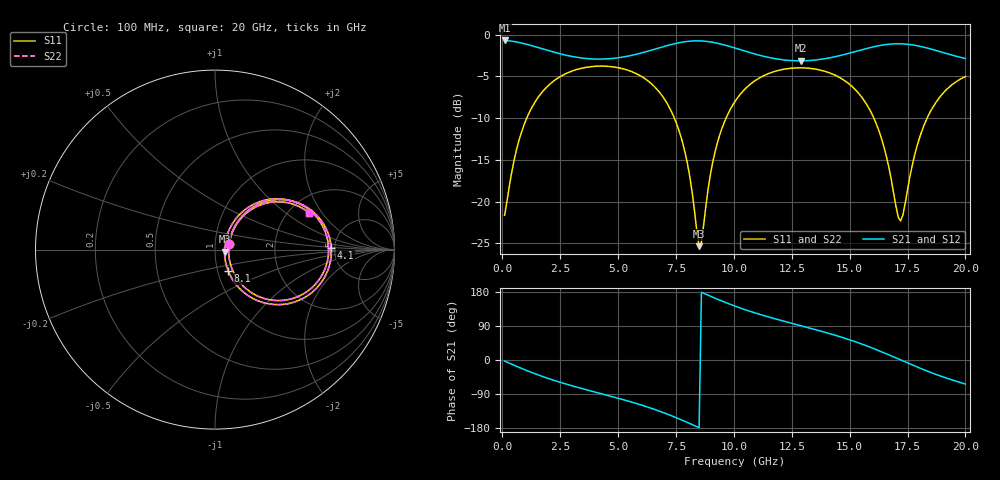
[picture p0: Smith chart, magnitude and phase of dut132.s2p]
! Touchstone file exported from HFSS 2026.1.0
!  File:  C:/ffzhzh/LocalFiles/Ansys_Project_Files/temp_train_TSV_RDL_132_1783049412_45820.aedt
!  Generated:  11:49:56 AM Jul  3, 2026
!  Design:  TSV_RDL
!  Project:  temp_train_TSV_RDL_132_1783049412_45820
! Variables:
!  h_bsmrdl = 2.15um
!  h_ox = 20um
!  h_rdl = 5um
!  h_sub = 98.28um
!  h_tmrdl = 3.7um
!  h_tsv = 98.28um
!  h_via = 3um
!  l_bsmrdl = 891.17um
!  l_sub = 7006.31um
!  l_tmrdl = 967.66um
!  m_sub = 200um
!  pitch = 36.94um
!  r_tsv = 3.93um
!  s_tmrdl = 10um
!  w_bsmrdl = 10.04um
!  w_sub = 500um
!  w_tmrdl = 10.68um
!  x_tsv_center1 = 973um
!  x_tsv_center2 = 1874.21um
!  x_tsv_center3 = 2852.55um
!  x_tsv_center4 = 3753.76um
!  x_tsv_center5 = 4732.1um
!  x_tsv_center6 = 5633.31um
# GHz S MA R 50.000000
! Terminal data exported
! Port[1] = TM_RDL1_1_T1
! Port[2] = TM_RDL5_1_T1
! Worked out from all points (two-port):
!   200 points, 100 MHz to 20 GHz, reference 50 ohm
!   highest |S21| = -0.69 dB at 100 MHz (marker M1); lowest = -3.1 dB at 12.9 GHz (marker M2)
!   |S21| within 3 dB of the highest: start of sweep to end of sweep
!   lowest |S11| = -25.3 dB at 8.5 GHz (marker M3), VSWR 1.11, Z = 55.6 - j1.21 ohm
!   |S11| at or under -10 dB: start of sweep to 1.057 GHz; 7.432 GHz to 9.664 GHz (2.232 GHz wide, 26.1 % of centre); 16.05 GHz to 18.35 GHz (2.302 GHz wide, 13.4 % of centre)
!   |S22| runs from -25.4 to -3.8 dB; largest |S21 - S12| = 1.4e-14
!   S11 on the Smith chart (normalised r, x): 100 MHz: 1.17, +0.07; 4.1 GHz: 4.66, +0.16; 8.1 GHz: 1.12, -0.27; 20 GHz: 2.54, +1.52
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0.1  0.08286 20.2  0.9232 -2.8  0.9232 -2.8  0.08286 20.2
! Gamma 0 0 0 0
! Port Impedance 50 0 50 0
0.6  0.201 51.0  0.905 -16.3  0.905 -16.3  0.201 51.0
1.3  0.3713 44.8  0.8568 -33.7  0.8568 -33.7  0.3713 44.8
2.2  0.5253 30.1  0.7875 -53.0  0.7875 -53.0  0.5253 30.1
3.5  0.6325 9.8  0.7229 -76.3  0.7229 -76.3  0.6325 9.8
4.1  0.6473 0.9  0.7141 -86.1  0.7141 -86.1  0.6473 0.9
5.4  0.6138 -18.7  0.7424 -107.7  0.7424 -107.7  0.6138 -18.7
6.8  0.4497 -42.9  0.8352 -135.3  0.8352 -135.3  0.4497 -42.9
7.6  0.2747 -56.8  0.8927 -154.5  0.8927 -154.5  0.2747 -56.8
8.1  0.1405 -58.3  0.9143 -167.6  0.9143 -167.6  0.1405 -58.4
8.5  0.05411 -11.6  0.9181 -178.5  0.9181 -178.5  0.05387 -11.6
9.2  0.2016 56.0  0.8941 162.8  0.8941 162.8  0.2015 56.1
10.1  0.4076 43.2  0.8274 141.1  0.8274 141.1  0.4075 43.2
11.5  0.585 19.7  0.7306 113.6  0.7306 113.6  0.585 19.7
12.9  0.6329 -1.0  0.6971 90.4  0.6971 90.4  0.6329 -1.0
13.4  0.6256 -8.3  0.7024 82.2  0.7024 82.2  0.6256 -8.3
15.5  0.4263 -41.4  0.8098 42.7  0.8098 42.7  0.4263 -41.5
16.2  0.2811 -51.4  0.8553 26.2  0.8553 26.2  0.281 -51.5
16.7  0.159 -50.4  0.8766 13.4  0.8766 13.4  0.1587 -50.6
17.2  0.07665 0.9  0.8817 0.1  0.8817 0.1  0.07575 0.8
18.3  0.306 47.5  0.8349 -28.1  0.8349 -28.1  0.3057 47.7
20  0.5618 21.5  0.7199 -63.5  0.7199 -63.5  0.5616 21.6
